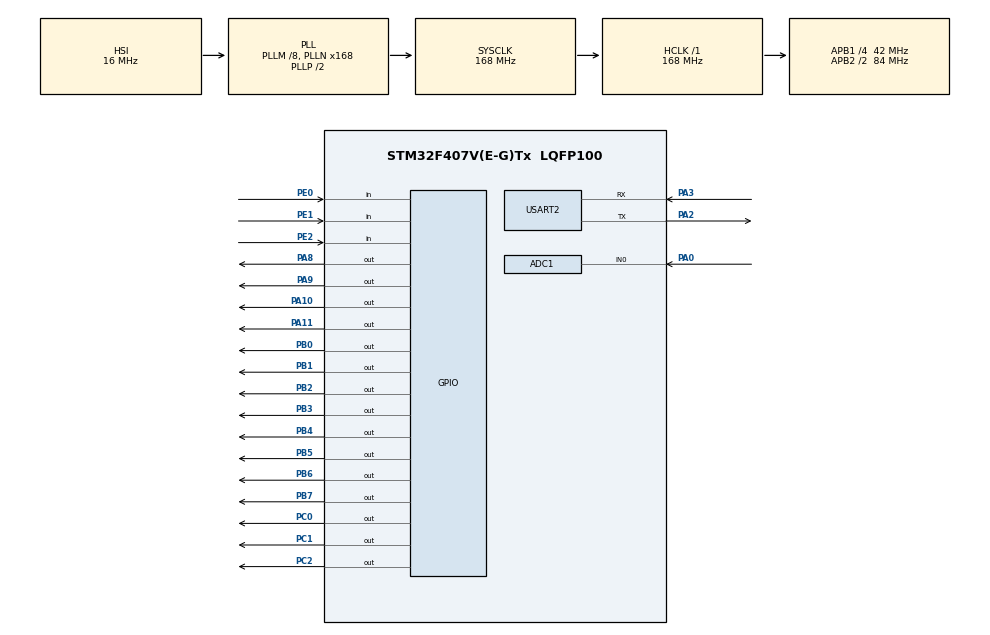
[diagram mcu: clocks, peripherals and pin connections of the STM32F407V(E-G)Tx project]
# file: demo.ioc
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ADC1.Channel-0\#ChannelRegularConversion=ADC_CHANNEL_0
ADC1.ContinuousConvMode=ENABLE
ADC1.NbrOfConversionFlag=1
ADC1.Rank-0\#ChannelRegularConversion=1
ADC1.SamplingTime-0\#ChannelRegularConversion=ADC_SAMPLETIME_15CYCLES
ADC1.master=1
Mcu.Family=STM32F4
Mcu.Name=STM32F407V(E-G)Tx
Mcu.Package=LQFP100
NVIC.PriorityGroup=NVIC_PRIORITYGROUP_4
NVIC.TIM2_IRQn=true\:0\:0\:false\:false\:true\:true\:true\:true
NVIC.USART2_IRQn=true\:0\:0\:false\:false\:true\:true\:true\:true
PA0-WKUP.Signal=ADCx_IN0
PA10.GPIO_Speed=GPIO_SPEED_FREQ_HIGH
PA10.Signal=GPIO_Output
PA11.GPIO_Speed=GPIO_SPEED_FREQ_HIGH
PA11.Signal=GPIO_Output
PA13.Mode=Serial_Wire
PA13.Signal=SYS_JTMS-SWDIO
PA14.Mode=Serial_Wire
PA14.Signal=SYS_JTCK-SWCLK
PA2.Mode=Asynchronous
PA2.Signal=USART2_TX
PA3.Mode=Asynchronous
PA3.Signal=USART2_RX
PA8.GPIO_Speed=GPIO_SPEED_FREQ_HIGH
PA8.Signal=GPIO_Output
PA9.GPIO_Speed=GPIO_SPEED_FREQ_HIGH
PA9.Signal=GPIO_Output
PB0.GPIO_ModeDefaultOutputPP=GPIO_MODE_OUTPUT_PP
PB0.GPIO_Speed=GPIO_SPEED_FREQ_HIGH
PB0.PinState=GPIO_PIN_SET
PB0.Signal=GPIO_Output
PB1.GPIO_Speed=GPIO_SPEED_FREQ_HIGH
PB1.PinState=GPIO_PIN_SET
PB1.Signal=GPIO_Output
PB2.GPIO_Speed=GPIO_SPEED_FREQ_HIGH
PB2.PinState=GPIO_PIN_SET
PB2.Signal=GPIO_Output
PB3.GPIO_Speed=GPIO_SPEED_FREQ_HIGH
PB3.PinState=GPIO_PIN_SET
PB3.Signal=GPIO_Output
PB4.GPIO_Speed=GPIO_SPEED_FREQ_HIGH
PB4.PinState=GPIO_PIN_SET
PB4.Signal=GPIO_Output
PB5.GPIO_Speed=GPIO_SPEED_FREQ_HIGH
PB5.PinState=GPIO_PIN_SET
PB5.Signal=GPIO_Output
PB6.GPIO_Speed=GPIO_SPEED_FREQ_HIGH
PB6.PinState=GPIO_PIN_SET
PB6.Signal=GPIO_Output
PB7.GPIO_Speed=GPIO_SPEED_FREQ_HIGH
PB7.PinState=GPIO_PIN_SET
PB7.Signal=GPIO_Output
PC0.GPIO_Speed=GPIO_SPEED_FREQ_HIGH
PC0.Signal=GPIO_Output
PC1.GPIO_Speed=GPIO_SPEED_FREQ_HIGH
PC1.Signal=GPIO_Output
PC2.GPIO_Speed=GPIO_SPEED_FREQ_HIGH
PC2.Signal=GPIO_Output
PE0.GPIO_PuPd=GPIO_PULLDOWN
PE0.Signal=GPIO_Input
PE1.GPIO_PuPd=GPIO_PULLDOWN
PE1.Signal=GPIO_Input
PE2.GPIO_PuPd=GPIO_PULLDOWN
PE2.Signal=GPIO_Input
PH0-OSC_IN.Mode=HSE-External-Oscillator
PH0-OSC_IN.Signal=RCC_OSC_IN
PH1-OSC_OUT.Mode=HSE-External-Oscillator
PH1-OSC_OUT.Signal=RCC_OSC_OUT
ProjectManager.HeapSize=0x200
ProjectManager.StackSize=0x400
ProjectManager.TargetToolchain=CMake
RCC.48MHZClocksFreq_Value=84000000
RCC.AHBFreq_Value=168000000
RCC.APB1CLKDivider=RCC_HCLK_DIV4
RCC.APB1Freq_Value=42000000
RCC.APB1TimFreq_Value=84000000
RCC.APB2CLKDivider=RCC_HCLK_DIV2
RCC.APB2Freq_Value=84000000
RCC.APB2TimFreq_Value=168000000
RCC.CortexFreq_Value=168000000
RCC.HCLKFreq_Value=168000000
RCC.HSE_VALUE=25000000
RCC.HSI_VALUE=16000000
RCC.LSE_VALUE=32768
RCC.PLLM=8
RCC.PLLN=168
RCC.SYSCLKFreq_VALUE=168000000
RCC.SYSCLKSource=RCC_SYSCLKSOURCE_PLLCLK
RCC.VCOOutputFreq_Value=336000000
SH.ADCx_IN0.0=ADC1_IN0,IN0
TIM2.AutoReloadPreload=TIM_AUTORELOAD_PRELOAD_ENABLE
TIM2.Period=999
TIM2.Prescaler=167
USART2.VirtualMode=VM_ASYNC
VP_TIM2_VS_ClockSourceINT.Mode=Internal
board=custom

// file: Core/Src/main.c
/* USER CODE BEGIN Header */
/**
  ******************************************************************************
  * @file           : main.c
  * @brief          : Main program body
  ******************************************************************************
  * @attention
  *
  * Copyright (c) 2026 STMicroelectronics.
  * All rights reserved.
  *
  * This software is licensed under terms that can be found in the LICENSE file
  * in the root directory of this software component.
  * If no LICENSE file comes with this software, it is provided AS-IS.
  *
  ******************************************************************************
  */
/* USER CODE END Header */
#include "main.h"
#include "adc.h"
#include "tim.h"
#include "usart.h"
#include "gpio.h"

/* USER CODE BEGIN Includes */
#include <stdio.h>
#include <stdlib.h>
/* USER CODE END Includes */

/* USER CODE BEGIN PV */
/* 7-segment common-anode code table (0-9), PB0=a, PB1=b, ..., PB7=dp */
const uint8_t SEG_CODE[] = {
    0xC0, 0xF9, 0xA4, 0xB0, 0x99, 0x92, 0x82, 0xF8, 0x80, 0x90
};

volatile uint16_t adc_val;
volatile float temperature = 25.0f;
volatile float alarm_high = 50.0f;
volatile float alarm_low  = 20.0f;
volatile uint8_t display_mode = 0;   // 0: temperature, 1: upper alarm, 2: lower alarm
volatile uint8_t digit_index  = 0;
volatile uint16_t blink_tick  = 0;
volatile uint8_t uart_rx_byte = 0;   // UART receive buffer
/* USER CODE END PV */

void SystemClock_Config(void);
/* USER CODE BEGIN PFP */
float ADC_Read_Temperature(void);
uint8_t Key_Scan(void);
void Display_Scan(uint8_t pos);
void Alarm_Check(void);
/* USER CODE END PFP */

/* USER CODE BEGIN 0 */

/* Send a string via UART2 using HAL (bypasses newlib retargeting) */
static void uart_send(const char *p)
{
    while (*p)
    {
        while ((USART2->SR & USART_SR_TXE) == 0);
        USART2->DR = (uint8_t)*p++;
    }
}

/* __io_putchar for printf compatibility (called by _write in syscalls.c) */
int __io_putchar(int ch)
{
    while ((USART2->SR & USART_SR_TXE) == 0);
    USART2->DR = (uint8_t)ch;
    return ch;
}
/* USER CODE END 0 */

int main(void)
{

  /* MCU Configuration--------------------------------------------------------*/

  /* Reset of all peripherals, Initializes the Flash interface and the Systick. */
  HAL_Init();

  /* Configure the system clock */
  SystemClock_Config();

  /* Initialize all configured peripherals */
  MX_GPIO_Init();
  MX_ADC1_Init();
  MX_TIM2_Init();
  MX_USART2_UART_Init();
  /* USER CODE BEGIN 2 */
  /*
   * Start ADC1 in continuous mode (direct register access).
   * MX_ADC1_Init already configured CONT=1. We just enable and trigger.
   */
  ADC1->CR2 |= ADC_CR2_ADON;       // Enable ADC
  for (volatile int i = 0; i < 10000; i++);  // stabilization delay
  ADC1->CR2 |= ADC_CR2_SWSTART;    // Start first conversion (CONT=1 keeps it going)

  HAL_TIM_Base_Start_IT(&htim2);
  HAL_UART_Receive_IT(&huart2, (uint8_t *)&uart_rx_byte, 1);
  uart_send("--- Digital Temp Transmitter ---\r\n");
  /* USER CODE END 2 */

  /* Infinite loop */
  while (1)
  {

    /* USER CODE BEGIN 3 */
    static uint32_t last_adc = 0;
    if (HAL_GetTick() - last_adc >= 20)  // 25x sim slowdown → ~500ms real
    {
        last_adc = HAL_GetTick();
        temperature = ADC_Read_Temperature();

        int t_int = (int)(temperature * 10 + 0.5f);
        int ah_int = (int)(alarm_high * 10 + 0.5f);
        int al_int = (int)(alarm_low * 10 + 0.5f);
        char buf[64];
        sprintf(buf, "T=%d.%d  H=%d.%d  L=%d.%d  ADC=%u\r\n",
                t_int / 10, t_int % 10,
                ah_int / 10, ah_int % 10,
                al_int / 10, al_int % 10,
                adc_val);
        uart_send(buf);
    }

    uint8_t key = Key_Scan();
    if (key == 1)   // PE0: cycle display mode
    {
        display_mode = (display_mode + 1) % 3;
    }
    else if (key == 2)   // PE1: +0.1
    {
        if (display_mode == 1)
        {
            alarm_high += 0.1f;
            if (alarm_high > 100.0f) alarm_high = 100.0f;
        }
        else if (display_mode == 2)
        {
            alarm_low += 0.1f;
            if (alarm_low > alarm_high) alarm_low = alarm_high;
        }
    }
    else if (key == 3)   // PE2: -0.1
    {
        if (display_mode == 1)
        {
            alarm_high -= 0.1f;
            if (alarm_high < alarm_low) alarm_high = alarm_low;
        }
        else if (display_mode == 2)
        {
            alarm_low -= 0.1f;
            if (alarm_low < 0.0f) alarm_low = 0.0f;
        }
    }

    Alarm_Check();
		HAL_Delay(10);
    /* USER CODE END 3 */
  }
}

void SystemClock_Config(void)
{
  RCC_OscInitTypeDef RCC_OscInitStruct = {0};
  RCC_ClkInitTypeDef RCC_ClkInitStruct = {0};

  /** Configure the main internal regulator output voltage
  */
  __HAL_RCC_PWR_CLK_ENABLE();
  __HAL_PWR_VOLTAGESCALING_CONFIG(PWR_REGULATOR_VOLTAGE_SCALE1);

  /** Initializes the RCC Oscillators according to the specified parameters
  * in the RCC_OscInitTypeDef structure.
  */
  RCC_OscInitStruct.OscillatorType = RCC_OSCILLATORTYPE_HSI;
  RCC_OscInitStruct.HSIState = RCC_HSI_ON;
  RCC_OscInitStruct.HSICalibrationValue = RCC_HSICALIBRATION_DEFAULT;
  RCC_OscInitStruct.PLL.PLLState = RCC_PLL_ON;
  RCC_OscInitStruct.PLL.PLLSource = RCC_PLLSOURCE_HSI;
  RCC_OscInitStruct.PLL.PLLM = 8;
  RCC_OscInitStruct.PLL.PLLN = 168;
  RCC_OscInitStruct.PLL.PLLP = RCC_PLLP_DIV2;
  RCC_OscInitStruct.PLL.PLLQ = 4;
  if (HAL_RCC_OscConfig(&RCC_OscInitStruct) != HAL_OK)
  {
    Error_Handler();
  }

  /** Initializes the CPU, AHB and APB buses clocks
  */
  RCC_ClkInitStruct.ClockType = RCC_CLOCKTYPE_HCLK|RCC_CLOCKTYPE_SYSCLK
                              |RCC_CLOCKTYPE_PCLK1|RCC_CLOCKTYPE_PCLK2;
  RCC_ClkInitStruct.SYSCLKSource = RCC_SYSCLKSOURCE_PLLCLK;
  RCC_ClkInitStruct.AHBCLKDivider = RCC_SYSCLK_DIV1;
  RCC_ClkInitStruct.APB1CLKDivider = RCC_HCLK_DIV4;
  RCC_ClkInitStruct.APB2CLKDivider = RCC_HCLK_DIV2;

  if (HAL_RCC_ClockConfig(&RCC_ClkInitStruct, FLASH_LATENCY_5) != HAL_OK)
  {
    Error_Handler();
  }
}

/* USER CODE BEGIN 4 */

/**
 * @brief  Read temperature from ADC (potentiometer simulation)
 * @retval Temperature value in Celsius (0.0 ~ 100.0)
 */
float ADC_Read_Temperature(void)
{
    /*
     * Single conversion via direct register access.
     * ADC enabled once at init (HAL_ADC_Start with CONT=0).
     * Each read: trigger SWSTART, wait EOC, read DR.
     */
    ADC1->CR2 |= ADC_CR2_SWSTART;       // Trigger one conversion

    uint32_t t = 1000000;
    while (!(ADC1->SR & ADC_SR_EOC) && --t);

    adc_val = ADC1->DR;

    float voltage = adc_val * 3.3f / 4096.0f;
    float temp = voltage * 100.0f / 3.3f;
    if (temp < 0.0f)   temp = 0.0f;
    if (temp > 100.0f) temp = 100.0f;
    return temp;
}

/**
 * @brief  Scan key inputs (debounced)
 * @retval 0: no key, 1: Mode, 2: Up, 3: Down
 */
uint8_t Key_Scan(void)
{
    if (HAL_GPIO_ReadPin(GPIOE, GPIO_PIN_0) == GPIO_PIN_SET)
    {
        HAL_Delay(20);
        if (HAL_GPIO_ReadPin(GPIOE, GPIO_PIN_0) == GPIO_PIN_SET)
        {
            while (HAL_GPIO_ReadPin(GPIOE, GPIO_PIN_0) == GPIO_PIN_SET);
            return 1; // Mode
        }
    }
    if (HAL_GPIO_ReadPin(GPIOE, GPIO_PIN_1) == GPIO_PIN_SET)
    {
        HAL_Delay(20);
        if (HAL_GPIO_ReadPin(GPIOE, GPIO_PIN_1) == GPIO_PIN_SET)
        {
            while (HAL_GPIO_ReadPin(GPIOE, GPIO_PIN_1) == GPIO_PIN_SET);
            return 2; // Up
        }
    }
    if (HAL_GPIO_ReadPin(GPIOE, GPIO_PIN_2) == GPIO_PIN_SET)
    {
        HAL_Delay(20);
        if (HAL_GPIO_ReadPin(GPIOE, GPIO_PIN_2) == GPIO_PIN_SET)
        {
            while (HAL_GPIO_ReadPin(GPIOE, GPIO_PIN_2) == GPIO_PIN_SET);
            return 3; // Down
        }
    }
    return 0;
}

/**
 * @brief  Dynamic display scan - drive one digit at a time
 * @param  pos: digit position 0~3 (left to right)
 */
void Display_Scan(uint8_t pos)
{
    /* Turn off all digits first */
    HAL_GPIO_WritePin(GPIOA, GPIO_PIN_8|GPIO_PIN_9|GPIO_PIN_10|GPIO_PIN_11, GPIO_PIN_RESET);

    /* Get value to display (scaled by 10) */
    uint16_t disp_val;
    if (display_mode == 0)
        disp_val = (uint16_t)(temperature * 10 + 0.5f);
    else if (display_mode == 1)
        disp_val = (uint16_t)(alarm_high * 10 + 0.5f);
    else
        disp_val = (uint16_t)(alarm_low * 10 + 0.5f);

    uint8_t seg = 0xFF;  // default: all segments off (common-anode)
    uint8_t dp  = 0;

    /*
     * Digit layout (4 digits, pos 0=leftmost .. 3=rightmost):
     *   For disp_val >= 1000:  [hundreds] [tens.] [ones] [tenths]   e.g. 100.0
     *   For 100..999:          [tens]     [ones.] [tenths] [blank]   e.g. 25.6
     *   For 10..99:            [blank]    [ones.] [tenths] [blank]   e.g. 5.6
     *   For 0..9:              [blank]    [0.]    [tenths] [blank]   e.g. 0.5
     */
    switch (pos)
    {
        case 0: /* leftmost */
            if (disp_val >= 1000)
                seg = SEG_CODE[disp_val / 1000];
            else if (disp_val >= 100)
                seg = SEG_CODE[(disp_val / 100) % 10];
            /* else: blank (0xFF) */
            break;

        case 1: /* second digit, always has decimal point */
            if (disp_val >= 1000)
                seg = SEG_CODE[(disp_val / 100) % 10];
            else if (disp_val >= 100)
                seg = SEG_CODE[(disp_val / 10) % 10];
            else if (disp_val >= 10)
                seg = SEG_CODE[disp_val / 10];
            else
                seg = SEG_CODE[0];
            dp = 1;
            break;

        case 2: /* third digit */
            if (disp_val >= 1000)
                seg = SEG_CODE[(disp_val / 10) % 10];
            else
                seg = SEG_CODE[disp_val % 10];
            break;

        case 3: /* rightmost */
            if (disp_val >= 1000)
                seg = SEG_CODE[disp_val % 10];
            /* else: blank (0xFF) */
            break;
    }

    /* Apply decimal point (active low for dp segment = bit 7) */
    if (dp) seg &= 0x7F;

    /* Output segment data to PB0~PB7 */
    GPIOB->ODR = (GPIOB->ODR & 0xFF00) | seg;

    /* Turn on the selected digit */
    switch (pos)
    {
        case 0: HAL_GPIO_WritePin(GPIOA, GPIO_PIN_11, GPIO_PIN_SET); break;
        case 1: HAL_GPIO_WritePin(GPIOA, GPIO_PIN_10, GPIO_PIN_SET); break;
        case 2: HAL_GPIO_WritePin(GPIOA, GPIO_PIN_9,  GPIO_PIN_SET); break;
        case 3: HAL_GPIO_WritePin(GPIOA, GPIO_PIN_8,  GPIO_PIN_SET); break;
    }
}

/**
 * @brief  Check temperature against alarm thresholds, update LEDs
 */
void Alarm_Check(void)
{
    /* Upper alarm: Red LED (PC1) — ON when temp exceeds upper limit */
    if (temperature > alarm_high)
        HAL_GPIO_WritePin(GPIOC, GPIO_PIN_1, GPIO_PIN_SET);
    else
        HAL_GPIO_WritePin(GPIOC, GPIO_PIN_1, GPIO_PIN_RESET);

    /* Lower alarm: Green LED (PC2) — ON when temp drops below lower limit */
    if (temperature < alarm_low)
        HAL_GPIO_WritePin(GPIOC, GPIO_PIN_2, GPIO_PIN_SET);
    else
        HAL_GPIO_WritePin(GPIOC, GPIO_PIN_2, GPIO_PIN_RESET);
}

/**
 * @brief  TIM2 period elapsed callback: scan display + blink yellow LED
 */
void HAL_TIM_PeriodElapsedCallback(TIM_HandleTypeDef *htim)
{
    if (htim == &htim2)
    {
        /* Dynamic display scan (500Hz / 4 = 125Hz per digit) */
        Display_Scan(digit_index);
        digit_index = (digit_index + 1) % 4;

        /* Yellow LED (PC0): blink ~2Hz when temp is in normal range */
        if (temperature >= alarm_low && temperature <= alarm_high)
        {
            blink_tick++;
            if (blink_tick >= 2)  // 25x sim slowdown → ~5Hz real
            {
                blink_tick = 0;
                HAL_GPIO_TogglePin(GPIOC, GPIO_PIN_0);
            }
        }
        else
        {
            HAL_GPIO_WritePin(GPIOC, GPIO_PIN_0, GPIO_PIN_RESET);
            blink_tick = 0;
        }
    }
}

/**
 * @brief  UART receive callback: remote control of alarm threshold
 *         Send 'U' to increase, 'D' to decrease
 */
void HAL_UART_RxCpltCallback(UART_HandleTypeDef *huart)
{
    if (huart == &huart2)
    {
        switch (uart_rx_byte)
        {
            case 'U':   // upper alarm +0.1
                alarm_high += 0.1f;
                if (alarm_high > 100.0f) alarm_high = 100.0f;
                break;
            case 'D':   // upper alarm -0.1
                alarm_high -= 0.1f;
                if (alarm_high < alarm_low) alarm_high = alarm_low;
                break;
            case 'u':   // lower alarm +0.1
                alarm_low += 0.1f;
                if (alarm_low > alarm_high) alarm_low = alarm_high;
                break;
            case 'd':   // lower alarm -0.1
                alarm_low -= 0.1f;
                if (alarm_low < 0.0f) alarm_low = 0.0f;
                break;
            default:
                break;
        }

        /* Re-arm receive for next byte */
        HAL_UART_Receive_IT(&huart2, (uint8_t *)&uart_rx_byte, 1);
    }
}

/* USER CODE END 4 */

void Error_Handler(void)
{
  __disable_irq();
  while (1)
  {
  }
}
